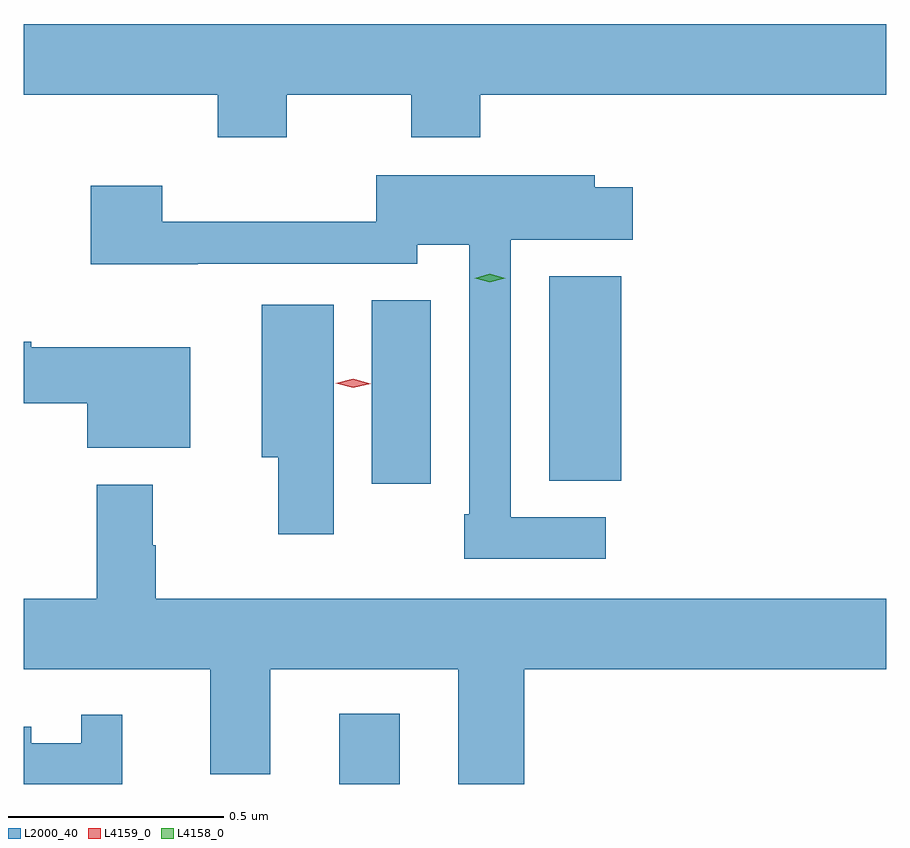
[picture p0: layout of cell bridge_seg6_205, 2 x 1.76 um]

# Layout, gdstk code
import gdstk
lib = gdstk.Library(unit=1e-6, precision=1e-09)
def R(c, l, rs):  # rectangles x0, y0, x1, y1
    for r in rs: c.add(gdstk.rectangle(r[:2], r[2:], *l))
def P(c, l, *ps):  # polygons
    for p in ps: c.add(gdstk.Polygon(p, *l))
L2000_40 = (2000, 40)
L4158_0 = (4158, 0)
L4159_0 = (4159, 0)

bridge_seg6_205 = lib.new_cell('bridge_seg6_205')
R(bridge_seg6_205, L2000_40, [(251.411,993.69,251.551,993.853), (251.486,994.386,251.623,994.811), (251.897,994.393,252.064,994.867)])
P(bridge_seg6_205, L2000_40, [(251.289,995.288),(251.578,995.288),(251.578,995.189),(251.738,995.189),(251.738,995.288),(252.679,995.288),(252.679,995.452),(250.679,995.452),(250.679,995.288),(251.129,995.288),(251.129,995.189),(251.289,995.189)],
  [(252.028,994.308),(251.808,994.308),(251.808,994.952),(252.091,994.952),(252.091,995.074),(252.003,995.074),(252.003,995.101),(251.496,995.101),(251.496,994.994),(251,994.994),(251,995.077),(250.835,995.077),(250.835,994.895),(251.083,994.895),(251.083,994.896),(251.592,994.896),(251.592,994.94),(251.712,994.94),(251.712,994.315),(251.7,994.315),(251.7,994.212),(252.028,994.212)],
  [(251.398,994.801),(251.231,994.801),(251.231,994.448),(251.269,994.448),(251.269,994.269),(251.398,994.269)],
  [(251.065,994.702),(250.696,994.702),(250.696,994.715),(250.679,994.715),(250.679,994.573),(250.826,994.573),(250.826,994.469),(251.065,994.469)],
  [(251.84,993.956),(252.679,993.956),(252.679,994.12),(250.985,994.12),(250.985,994.244),(250.978,994.244),(250.978,994.384),(250.849,994.384),(250.849,994.12),(250.679,994.12),(250.679,993.956),(251.111,993.956),(251.111,993.713),(251.251,993.713),(251.251,993.956),(251.687,993.956),(251.687,993.69),(251.84,993.69)],
  [(250.908,993.85),(250.812,993.85),(250.812,993.784),(250.696,993.784),(250.696,993.823),(250.679,993.823),(250.679,993.69),(250.908,993.69)])
P(bridge_seg6_205, L4158_0, [(251.76,994.853),(251.725,994.863),(251.725,994.863),(251.725,994.863),(251.76,994.873),(251.795,994.863),(251.795,994.863),(251.795,994.863)])
P(bridge_seg6_205, L4159_0, [(251.443,994.609),(251.402,994.619),(251.402,994.619),(251.402,994.619),(251.443,994.629),(251.484,994.618),(251.484,994.618),(251.484,994.618)])

lib.write_gds('bridge_seg6_205.gds')
